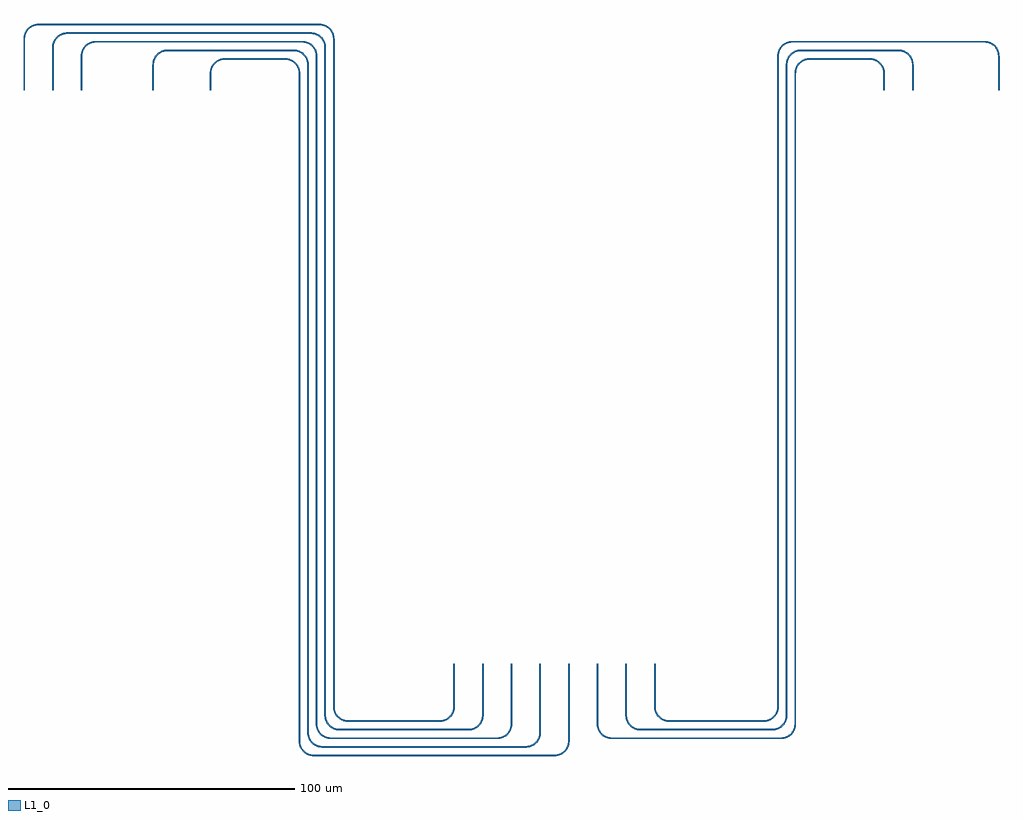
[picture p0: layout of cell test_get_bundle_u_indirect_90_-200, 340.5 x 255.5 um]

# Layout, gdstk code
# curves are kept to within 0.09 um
from math import pi, radians
import gdstk
lib = gdstk.Library(unit=1e-6, precision=1e-09)
def R(c, l, rs):  # rectangles x0, y0, x1, y1
    for r in rs: c.add(gdstk.rectangle(r[:2], r[2:], *l))
def P(c, l, *ps):  # polygons
    for p in ps: c.add(gdstk.Polygon(p, *l))
L1_0 = (1, 0)

bend_circular_964457f5 = lib.new_cell('bend_circular_964457f5')
P(bend_circular_964457f5, L1_0, [(0,-0.25),(1.092,-0.135),(2.135,0.204),(3.086,0.753),(3.712,1.288),(4.247,1.914),(4.796,2.865),(5.135,3.908),(5.25,5),(4.75,5),(4.646,4.012),(4.339,3.068),(3.984,2.413),(3.359,1.641),(2.587,1.016),(1.932,0.661),(0.988,0.354),(0,0.25)])

straight_bb8fb84f = lib.new_cell('straight_bb8fb84f')
R(straight_bb8fb84f, L1_0, [(0,-0.25,6,0.25)])

straight_7f4a1dcc = lib.new_cell('straight_7f4a1dcc')
R(straight_7f4a1dcc, L1_0, [(0,-0.25,21,0.25)])

straight_7b9c7c26 = lib.new_cell('straight_7b9c7c26')
R(straight_7b9c7c26, L1_0, [(0,-0.25,233,0.25)])

straight_3396334d = lib.new_cell('straight_3396334d')
R(straight_3396334d, L1_0, [(0,-0.25,84,0.25)])

straight_b84123ef = lib.new_cell('straight_b84123ef')
R(straight_b84123ef, L1_0, [(0,-0.25,27,0.25)])

straight_4369463b = lib.new_cell('straight_4369463b')
R(straight_4369463b, L1_0, [(0,-0.25,9,0.25)])

straight_0aac1b25 = lib.new_cell('straight_0aac1b25')
R(straight_0aac1b25, L1_0, [(0,-0.25,44,0.25)])

straight_93e63d62 = lib.new_cell('straight_93e63d62')
R(straight_93e63d62, L1_0, [(0,-0.25,71,0.25)])

straight_97db267d = lib.new_cell('straight_97db267d')
R(straight_97db267d, L1_0, [(0,-0.25,24,0.25)])

straight_c05510ec = lib.new_cell('straight_c05510ec')
R(straight_c05510ec, L1_0, [(0,-0.25,12,0.25)])

straight_5829e29e = lib.new_cell('straight_5829e29e')
R(straight_5829e29e, L1_0, [(0,-0.25,72,0.25)])

straight_b1d2cbc5 = lib.new_cell('straight_b1d2cbc5')
R(straight_b1d2cbc5, L1_0, [(0,-0.25,58,0.25)])

straight_75db68dd = lib.new_cell('straight_75db68dd')
R(straight_75db68dd, L1_0, [(0,-0.25,15,0.25)])

straight_a1748b79 = lib.new_cell('straight_a1748b79')
R(straight_a1748b79, L1_0, [(0,-0.25,85,0.25)])

straight_aa7699c2 = lib.new_cell('straight_aa7699c2')
R(straight_aa7699c2, L1_0, [(0,-0.25,45,0.25)])

straight_bb729cf3 = lib.new_cell('straight_bb729cf3')
R(straight_bb729cf3, L1_0, [(0,-0.25,18,0.25)])

straight_a4549e48 = lib.new_cell('straight_a4549e48')
R(straight_a4549e48, L1_0, [(0,-0.25,98,0.25)])

straight_dc75bf70 = lib.new_cell('straight_dc75bf70')
R(straight_dc75bf70, L1_0, [(0,-0.25,32,0.25)])

straight_e4fa81f4 = lib.new_cell('straight_e4fa81f4')
R(straight_e4fa81f4, L1_0, [(0,-0.25,227,0.25)])

straight_7f918576 = lib.new_cell('straight_7f918576')
R(straight_7f918576, L1_0, [(0,-0.25,59,0.25)])

straight_2b0c7fbe = lib.new_cell('straight_2b0c7fbe')
R(straight_2b0c7fbe, L1_0, [(0,-0.25,34,0.25)])

straight_de22bf7c = lib.new_cell('straight_de22bf7c')
R(straight_de22bf7c, L1_0, [(0,-0.25,46,0.25)])

straight_4e6b7324 = lib.new_cell('straight_4e6b7324')
R(straight_4e6b7324, L1_0, [(0,-0.25,67,0.25)])

straight_0917e001 = lib.new_cell('straight_0917e001')
R(straight_0917e001, L1_0, [(0,-0.25,33,0.25)])

test_get_bundle_u_indire = lib.new_cell('test_get_bundle_u_indirect_90_-200')
test_get_bundle_u_indire.add(gdstk.Reference(bend_circular_964457f5, (-35,6), rotation=pi/2, x_reflection=True))
test_get_bundle_u_indire.add(gdstk.Reference(bend_circular_964457f5, (-9,11), x_reflection=True))
test_get_bundle_u_indire.add(gdstk.Reference(bend_circular_964457f5, (-4,-227), rotation=3*pi/2))
test_get_bundle_u_indire.add(gdstk.Reference(bend_circular_964457f5, (85,-232)))
test_get_bundle_u_indire.add(gdstk.Reference(straight_bb8fb84f, (-35,0), rotation=pi/2))
test_get_bundle_u_indire.add(gdstk.Reference(straight_7f4a1dcc, (-30,11)))
test_get_bundle_u_indire.add(gdstk.Reference(straight_7b9c7c26, (-4,6), rotation=3*pi/2))
test_get_bundle_u_indire.add(gdstk.Reference(straight_3396334d, (1,-232)))
test_get_bundle_u_indire.add(gdstk.Reference(straight_b84123ef, (90,-227), rotation=pi/2))
test_get_bundle_u_indire.add(gdstk.Reference(bend_circular_964457f5, (-55,9), rotation=pi/2, x_reflection=True))
test_get_bundle_u_indire.add(gdstk.Reference(bend_circular_964457f5, (-6,14), x_reflection=True))
test_get_bundle_u_indire.add(gdstk.Reference(bend_circular_964457f5, (-1,-224), rotation=3*pi/2))
test_get_bundle_u_indire.add(gdstk.Reference(bend_circular_964457f5, (75,-229)))
test_get_bundle_u_indire.add(gdstk.Reference(straight_4369463b, (-55,0), rotation=pi/2))
test_get_bundle_u_indire.add(gdstk.Reference(straight_0aac1b25, (-50,14)))
test_get_bundle_u_indire.add(gdstk.Reference(straight_7b9c7c26, (-1,9), rotation=3*pi/2))
test_get_bundle_u_indire.add(gdstk.Reference(straight_93e63d62, (4,-229)))
test_get_bundle_u_indire.add(gdstk.Reference(straight_97db267d, (80,-224), rotation=pi/2))
test_get_bundle_u_indire.add(gdstk.Reference(bend_circular_964457f5, (-80,12), rotation=pi/2, x_reflection=True))
test_get_bundle_u_indire.add(gdstk.Reference(bend_circular_964457f5, (-3,17), x_reflection=True))
test_get_bundle_u_indire.add(gdstk.Reference(bend_circular_964457f5, (2,-221), rotation=3*pi/2))
test_get_bundle_u_indire.add(gdstk.Reference(bend_circular_964457f5, (65,-226)))
test_get_bundle_u_indire.add(gdstk.Reference(straight_c05510ec, (-80,0), rotation=pi/2))
test_get_bundle_u_indire.add(gdstk.Reference(straight_5829e29e, (-75,17)))
test_get_bundle_u_indire.add(gdstk.Reference(straight_7b9c7c26, (2,12), rotation=3*pi/2))
test_get_bundle_u_indire.add(gdstk.Reference(straight_b1d2cbc5, (7,-226)))
test_get_bundle_u_indire.add(gdstk.Reference(straight_7f4a1dcc, (70,-221), rotation=pi/2))
test_get_bundle_u_indire.add(gdstk.Reference(bend_circular_964457f5, (-90,15), rotation=pi/2, x_reflection=True))
test_get_bundle_u_indire.add(gdstk.Reference(bend_circular_964457f5, (0,20), x_reflection=True))
test_get_bundle_u_indire.add(gdstk.Reference(bend_circular_964457f5, (5,-218), rotation=3*pi/2))
test_get_bundle_u_indire.add(gdstk.Reference(bend_circular_964457f5, (55,-223)))
test_get_bundle_u_indire.add(gdstk.Reference(straight_75db68dd, (-90,0), rotation=pi/2))
test_get_bundle_u_indire.add(gdstk.Reference(straight_a1748b79, (-85,20)))
test_get_bundle_u_indire.add(gdstk.Reference(straight_7b9c7c26, (5,15), rotation=3*pi/2))
test_get_bundle_u_indire.add(gdstk.Reference(straight_aa7699c2, (10,-223)))
test_get_bundle_u_indire.add(gdstk.Reference(straight_bb729cf3, (60,-218), rotation=pi/2))
test_get_bundle_u_indire.add(gdstk.Reference(bend_circular_964457f5, (-100,18), rotation=pi/2, x_reflection=True))
test_get_bundle_u_indire.add(gdstk.Reference(bend_circular_964457f5, (3,23), x_reflection=True))
test_get_bundle_u_indire.add(gdstk.Reference(bend_circular_964457f5, (8,-215), rotation=3*pi/2))
test_get_bundle_u_indire.add(gdstk.Reference(bend_circular_964457f5, (45,-220)))
test_get_bundle_u_indire.add(gdstk.Reference(straight_bb729cf3, (-100,0), rotation=pi/2))
test_get_bundle_u_indire.add(gdstk.Reference(straight_a4549e48, (-95,23)))
test_get_bundle_u_indire.add(gdstk.Reference(straight_7b9c7c26, (8,18), rotation=3*pi/2))
test_get_bundle_u_indire.add(gdstk.Reference(straight_dc75bf70, (13,-220)))
test_get_bundle_u_indire.add(gdstk.Reference(straight_75db68dd, (50,-215), rotation=pi/2))
test_get_bundle_u_indire.add(gdstk.Reference(bend_circular_964457f5, (200,6), rotation=pi/2))
test_get_bundle_u_indire.add(gdstk.Reference(bend_circular_964457f5, (174,11), rotation=pi))
test_get_bundle_u_indire.add(gdstk.Reference(bend_circular_964457f5, (169,-221), rotation=3*pi/2, x_reflection=True))
test_get_bundle_u_indire.add(gdstk.Reference(bend_circular_964457f5, (105,-226), rotation=pi, x_reflection=True))
test_get_bundle_u_indire.add(gdstk.Reference(straight_bb8fb84f, (200,0), rotation=pi/2))
test_get_bundle_u_indire.add(gdstk.Reference(straight_7f4a1dcc, (195,11), rotation=pi))
test_get_bundle_u_indire.add(gdstk.Reference(straight_e4fa81f4, (169,6), rotation=3*pi/2))
test_get_bundle_u_indire.add(gdstk.Reference(straight_7f918576, (164,-226), rotation=pi))
test_get_bundle_u_indire.add(gdstk.Reference(straight_7f4a1dcc, (100,-221), rotation=pi/2))
test_get_bundle_u_indire.add(gdstk.Reference(bend_circular_964457f5, (210,9), rotation=pi/2))
test_get_bundle_u_indire.add(gdstk.Reference(bend_circular_964457f5, (171,14), rotation=pi))
test_get_bundle_u_indire.add(gdstk.Reference(bend_circular_964457f5, (166,-218), rotation=3*pi/2, x_reflection=True))
test_get_bundle_u_indire.add(gdstk.Reference(bend_circular_964457f5, (115,-223), rotation=pi, x_reflection=True))
test_get_bundle_u_indire.add(gdstk.Reference(straight_4369463b, (210,0), rotation=pi/2))
test_get_bundle_u_indire.add(gdstk.Reference(straight_2b0c7fbe, (205,14), rotation=pi))
test_get_bundle_u_indire.add(gdstk.Reference(straight_e4fa81f4, (166,9), rotation=3*pi/2))
test_get_bundle_u_indire.add(gdstk.Reference(straight_de22bf7c, (161,-223), rotation=pi))
test_get_bundle_u_indire.add(gdstk.Reference(straight_bb729cf3, (110,-218), rotation=pi/2))
test_get_bundle_u_indire.add(gdstk.Reference(bend_circular_964457f5, (240,12), rotation=pi/2))
test_get_bundle_u_indire.add(gdstk.Reference(bend_circular_964457f5, (168,17), rotation=pi))
test_get_bundle_u_indire.add(gdstk.Reference(bend_circular_964457f5, (163,-215), rotation=3*pi/2, x_reflection=True))
test_get_bundle_u_indire.add(gdstk.Reference(bend_circular_964457f5, (125,-220), rotation=pi, x_reflection=True))
test_get_bundle_u_indire.add(gdstk.Reference(straight_c05510ec, (240,0), rotation=pi/2))
test_get_bundle_u_indire.add(gdstk.Reference(straight_4e6b7324, (235,17), rotation=pi))
test_get_bundle_u_indire.add(gdstk.Reference(straight_e4fa81f4, (163,12), rotation=3*pi/2))
test_get_bundle_u_indire.add(gdstk.Reference(straight_0917e001, (158,-220), rotation=pi))
test_get_bundle_u_indire.add(gdstk.Reference(straight_75db68dd, (120,-215), rotation=pi/2))

lib.write_gds('test_get_bundle_u_indirect_90_-200.gds')
